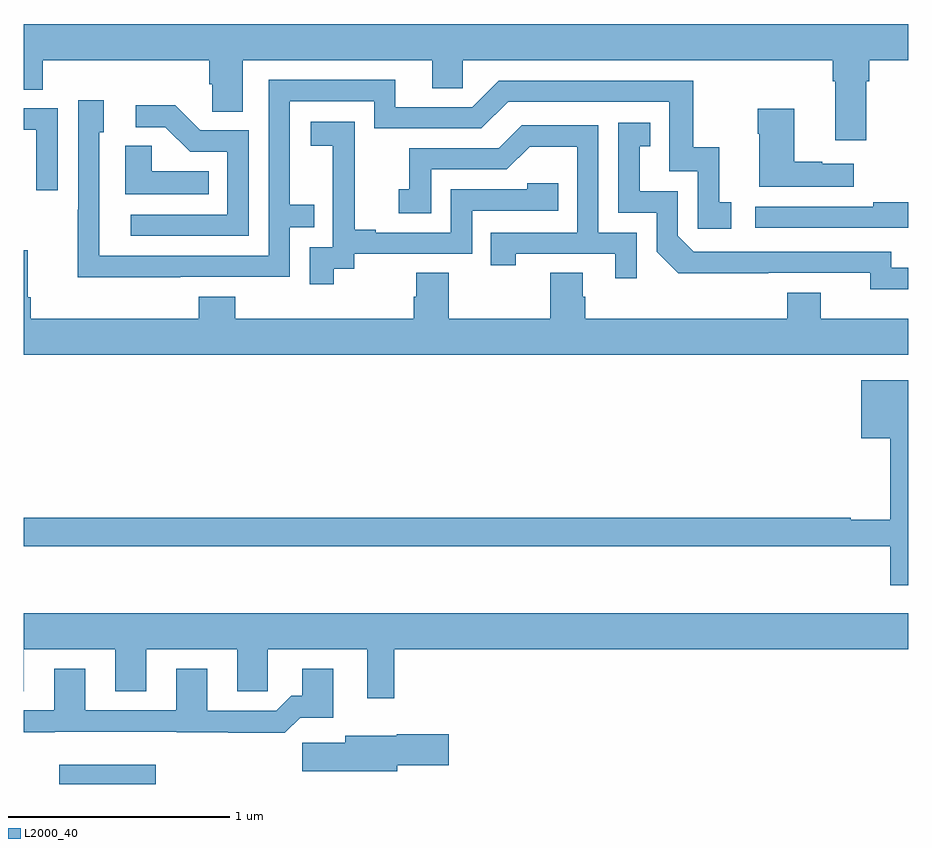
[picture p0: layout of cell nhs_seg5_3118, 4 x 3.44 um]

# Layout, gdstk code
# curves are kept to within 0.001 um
import gdstk
lib = gdstk.Library(unit=1e-6, precision=1e-09)
def R(c, l, rs):  # rectangles x0, y0, x1, y1
    for r in rs: c.add(gdstk.rectangle(r[:2], r[2:], *l))
def P(c, l, *ps):  # polygons
    for p in ps: c.add(gdstk.Polygon(p, *l))
L2000_40 = (2000, 40)

nhs_seg5_3118 = lib.new_cell('nhs_seg5_3118')
R(nhs_seg5_3118, L2000_40, [(291.161,874.799,291.598,874.885)])
P(nhs_seg5_3118, L2000_40, [(294.811,877.976),(294.824,877.976),(294.824,878.072),(295,878.072),(295,878.236),(291,878.236),(291,877.939),(291.086,877.939),(291.086,878.072),(291.839,878.072),(291.839,877.963),(291.852,877.963),(291.852,877.84),(291.991,877.84),(291.991,878.072),(292.847,878.072),(292.847,877.945),(292.986,877.945),(292.986,878.072),(294.659,878.072),(294.659,877.976),(294.671,877.976),(294.671,877.71),(294.811,877.71)],
  [(291.707,877.092),(292.203,877.092),(292.203,877.317),(292.313,877.317),(292.313,877.418),(292.203,877.418),(292.203,877.887),(292.584,877.887),(292.584,877.764),(293.07,877.764),(293.19,877.884),(293.919,877.884),(293.919,877.569),(294.048,877.569),(294.048,877.311),(294.199,877.311),(294.199,877.431),(294.146,877.431),(294.146,877.678),(294.028,877.678),(294.028,877.98),(293.148,877.98),(293.028,877.86),(292.681,877.86),(292.681,877.983),(292.107,877.983),(292.107,877.188),(291.342,877.188),(291.342,877.746),(291.361,877.746),(291.361,877.891),(291.246,877.891),(291.246,877.397),(291.244,877.397),(291.244,877.091)],
  [(292.017,877.755),(291.798,877.755),(291.685,877.868),(291.507,877.868),(291.507,877.77),(291.641,877.77),(291.752,877.659),(291.921,877.659),(291.921,877.374),(291.483,877.374),(291.483,877.278),(292.017,877.278)],
  [(291.153,877.854),(291,877.854),(291,877.758),(291.057,877.758),(291.057,877.485),(291.153,877.485)],
  [(294.754,877.603),(294.611,877.603),(294.611,877.613),(294.484,877.613),(294.484,877.852),(294.319,877.852),(294.319,877.739),(294.326,877.739),(294.326,877.499),(294.754,877.499)],
  [(292.402,877.129),(292.494,877.129),(292.494,877.197),(293.028,877.197),(293.028,877.392),(293.417,877.392),(293.417,877.515),(293.277,877.515),(293.277,877.488),(292.932,877.488),(292.932,877.293),(292.591,877.293),(292.591,877.306),(292.496,877.306),(292.496,877.589),(292.497,877.589),(292.497,877.795),(292.299,877.795),(292.299,877.685),(292.397,877.685),(292.397,877.457),(292.398,877.457),(292.398,877.227),(292.293,877.227),(292.293,877.059),(292.402,877.059)],
  [(295,877.134),(294.924,877.134),(294.924,877.206),(294.03,877.206),(293.958,877.278),(293.958,877.479),(293.785,877.479),(293.785,877.683),(293.834,877.683),(293.834,877.789),(293.688,877.789),(293.688,877.383),(293.862,877.383),(293.862,877.206),(293.96,877.109),(294.828,877.11),(294.828,877.037),(295,877.037)],
  [(293.772,877.293),(293.598,877.293),(293.598,877.779),(293.252,877.779),(293.147,877.674),(292.744,877.674),(292.744,877.489),(292.695,877.489),(292.695,877.38),(292.842,877.38),(292.842,877.578),(293.184,877.578),(293.288,877.682),(293.502,877.682),(293.502,877.293),(293.113,877.293),(293.113,877.146),(293.224,877.146),(293.224,877.197),(293.675,877.197),(293.675,877.086),(293.772,877.086)],
  [(291.836,877.57),(291.579,877.57),(291.579,877.685),(291.458,877.685),(291.458,877.466),(291.836,877.466)],
  [(295,877.43),(294.841,877.43),(294.841,877.41),(294.309,877.41),(294.309,877.314),(295,877.314)],
  [(295,876.904),(294.604,876.904),(294.604,877.021),(294.452,877.021),(294.452,876.904),(293.54,876.904),(293.54,877.002),(293.527,877.002),(293.527,877.112),(293.38,877.112),(293.38,876.904),(292.923,876.904),(292.923,877.112),(292.775,877.112),(292.775,877.002),(292.763,877.002),(292.763,876.904),(291.956,876.904),(291.956,877.003),(291.791,877.003),(291.791,876.904),(291.032,876.904),(291.032,877),(291.019,877),(291.019,877.213),(291,877.213),(291,876.74),(295,876.74)],
  [(295,876.625),(294.788,876.625),(294.788,876.362),(294.918,876.362),(294.918,875.995),(294.739,875.995),(294.739,876.002),(291,876.002),(291,875.874),(294.918,875.874),(294.918,875.697),(295,875.697)],
  [(292.675,875.408),(295,875.408),(295,875.572),(291,875.572),(291,875.218),(291.001,875.218),(291.001,875.408),(291.413,875.408),(291.413,875.218),(291.553,875.218),(291.553,875.408),(291.965,875.408),(291.965,875.218),(292.104,875.218),(292.104,875.408),(292.553,875.408),(292.553,875.187),(292.675,875.187)],
  [(292.25,875.099),(292.399,875.099),(292.399,875.32),(292.259,875.32),(292.259,875.197),(292.21,875.197),(292.143,875.13),(291.829,875.13),(291.829,875.32),(291.689,875.32),(291.689,875.133),(291.277,875.133),(291.277,875.32),(291.137,875.32),(291.137,875.133),(291,875.133),(291,875.032),(291.141,875.032),(291.141,875.036),(291.693,875.036),(291.693,875.032),(291.925,875.032),(291.925,875.03),(292.181,875.03)],
  [(292.69,874.883),(292.921,874.883),(292.921,875.025),(292.686,875.025),(292.686,875.017),(292.454,875.017),(292.454,874.985),(292.26,874.985),(292.26,874.856),(292.69,874.856)])

lib.write_gds('nhs_seg5_3118.gds')
